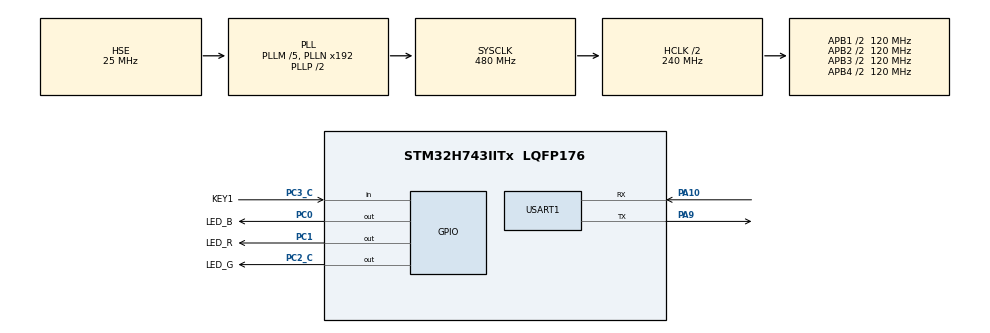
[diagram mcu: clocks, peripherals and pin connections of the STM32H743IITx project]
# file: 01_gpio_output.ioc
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CORTEX_M7.Enable_Spec=__NULL
CORTEX_M7.default_mode_Activation=1
Dma.Request0=USART1_TX
Dma.USART1_TX.0.Direction=DMA_MEMORY_TO_PERIPH
Dma.USART1_TX.0.EventEnable=DISABLE
Dma.USART1_TX.0.FIFOMode=DMA_FIFOMODE_ENABLE
Dma.USART1_TX.0.FIFOThreshold=DMA_FIFO_THRESHOLD_HALFFULL
Dma.USART1_TX.0.Instance=DMA1_Stream0
Dma.USART1_TX.0.MemBurst=DMA_MBURST_SINGLE
Dma.USART1_TX.0.MemDataAlignment=DMA_MDATAALIGN_BYTE
Dma.USART1_TX.0.MemInc=DMA_MINC_ENABLE
Dma.USART1_TX.0.Mode=DMA_CIRCULAR
Dma.USART1_TX.0.PeriphBurst=DMA_PBURST_SINGLE
Dma.USART1_TX.0.PeriphDataAlignment=DMA_PDATAALIGN_BYTE
Dma.USART1_TX.0.PeriphInc=DMA_PINC_DISABLE
Dma.USART1_TX.0.Polarity=HAL_DMAMUX_REQ_GEN_RISING
Dma.USART1_TX.0.Priority=DMA_PRIORITY_LOW
Dma.USART1_TX.0.RequestNumber=1
Dma.USART1_TX.0.SignalID=NONE
Dma.USART1_TX.0.SyncEnable=DISABLE
Dma.USART1_TX.0.SyncPolarity=HAL_DMAMUX_SYNC_NO_EVENT
Dma.USART1_TX.0.SyncRequestNumber=1
Dma.USART1_TX.0.SyncSignalID=NONE
Mcu.Family=STM32H7
Mcu.Name=STM32H743IITx
Mcu.Package=LQFP176
NVIC.DMA1_Stream0_IRQn=true\:0\:0\:false\:false\:true\:false\:true\:true
NVIC.PriorityGroup=NVIC_PRIORITYGROUP_4
NVIC.USART1_IRQn=true\:0\:0\:false\:false\:true\:true\:true\:true
PA10.Mode=Asynchronous
PA10.Signal=USART1_RX
PA13\ (JTMS/SWDIO).Mode=Serial_Wire
PA13\ (JTMS/SWDIO).Signal=DEBUG_JTMS-SWDIO
PA14\ (JTCK/SWCLK).Mode=Serial_Wire
PA14\ (JTCK/SWCLK).Signal=DEBUG_JTCK-SWCLK
PA9.Mode=Asynchronous
PA9.Signal=USART1_TX
PC0.GPIO_Label=LED_B
PC0.GPIO_ModeDefaultOutputPP=GPIO_MODE_OUTPUT_PP
PC0.GPIO_PuPd=GPIO_NOPULL
PC0.GPIO_Speed=GPIO_SPEED_FREQ_LOW
PC0.PinState=GPIO_PIN_RESET
PC0.Signal=GPIO_Output
PC1.GPIO_Label=LED_R
PC1.PinState=GPIO_PIN_RESET
PC1.Signal=GPIO_Output
PC2_C.GPIO_Label=LED_G
PC2_C.PinState=GPIO_PIN_RESET
PC2_C.Signal=GPIO_Output
PC3_C.GPIO_Label=KEY1
PC3_C.GPIO_PuPd=GPIO_PULLUP
PC3_C.Signal=GPIO_Input
PH0-OSC_IN\ (PH0).Mode=HSE-External-Oscillator
PH0-OSC_IN\ (PH0).Signal=RCC_OSC_IN
PH1-OSC_OUT\ (PH1).Mode=HSE-External-Oscillator
PH1-OSC_OUT\ (PH1).Signal=RCC_OSC_OUT
ProjectManager.HeapSize=0x200
ProjectManager.StackSize=0x400
ProjectManager.TargetToolchain=CMake
RCC.ADCFreq_Value=50390625
RCC.APB1Freq_Value=120000000
RCC.APB2Freq_Value=120000000
RCC.APB3Freq_Value=120000000
RCC.APB4Freq_Value=120000000
RCC.CortexFreq_Value=480000000
RCC.D1PPRE=RCC_APB3_DIV2
RCC.D2PPRE1=RCC_APB1_DIV2
RCC.D2PPRE2=RCC_APB2_DIV2
RCC.D3PPRE=RCC_APB4_DIV2
RCC.DIVM1=5
RCC.DIVN1=192
RCC.HCLKFreq_Value=240000000
RCC.HPRE=RCC_HCLK_DIV2
RCC.HSE_VALUE=25000000
RCC.PLLFRACN=0
RCC.PLLSourceVirtual=RCC_PLLSOURCE_HSE
RCC.SYSCLKFreq_VALUE=480000000
RCC.SYSCLKSource=RCC_SYSCLKSOURCE_PLLCLK
RCC.USBFreq_Value=480000000
USART1.FIFOMode=FIFOMODE_ENABLE
USART1.Parity=PARITY_NONE
USART1.RXFIFOThreshold=RXFIFO_THRESHOLD_HALFFULL
USART1.TXFIFOThreshold=TXFIFO_THRESHOLD_HALFFULL
USART1.VirtualMode-Asynchronous=VM_ASYNC
USART1.WordLength=WORDLENGTH_8B
VP_MEMORYMAP_VS_MEMORYMAP.Mode=CurAppReg
board=custom

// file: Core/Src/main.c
/* USER CODE BEGIN Header */
/**
  ******************************************************************************
  * @file           : main.c
  * @brief          : Main program body
  ******************************************************************************
  * @attention
  *
  * Copyright (c) 2025 STMicroelectronics.
  * All rights reserved.
  *
  * This software is licensed under terms that can be found in the LICENSE file
  * in the root directory of this software component.
  * If no LICENSE file comes with this software, it is provided AS-IS.
  *
  ******************************************************************************
  */
/* USER CODE END Header */
#include "main.h"
#include "dma.h"
#include "memorymap.h"
#include "usart.h"
#include "gpio.h"

/* USER CODE BEGIN Includes */
#include <string.h>
#include <stdio.h>
/* USER CODE END Includes */

void SystemClock_Config(void);
static void MPU_Config(void);

/* USER CODE BEGIN 0 */

char print_buff[100];
#define debug(...) do{\
  sprintf(print_buff,__VA_ARGS__);\
  while(HAL_UART_Transmit_DMA(&huart1,(uint8_t *)print_buff,strlen(print_buff)) != HAL_OK);\
}while(0)

// #define RXBUFFERSIZE 30
// uint8_t aRxBuffer[RXBUFFERSIZE] __attribute__((section(".dma_buffer")));

// void HAL_UARTEx_RxEventCallback(UART_HandleTypeDef *huart,uint16_t size) {
//   if (huart->Instance == USART1) {
//     HAL_UART_DMAStop(huart);
//     // uint16_t size = RXBUFFERSIZE - __HAL_DMA_GET_COUNTER(huart->hdmarx);
//     // HAL_UART_ReceiveToIdle_DMA(huart, aRxBuffer, RXBUFFERSIZE);
//     // HAL_UART_Transmit(&huart1, aRxBuffer, size, 1000);
//     HAL_GPIO_TogglePin(LED_G_GPIO_Port, LED_G_Pin);
//   }
//
//
// }
uint8_t tx_buffer[30];

uint8_t rx_buffer[30];
void HAL_UARTEx_RxEventCallback(UART_HandleTypeDef *huart,uint16_t size) {
  if (huart->Instance == USART1) {
    HAL_UARTEx_ReceiveToIdle_IT(huart, rx_buffer, 10);
    // HAL_GPIO_TogglePin(LED_G_GPIO_Port, LED_G_Pin);
    sprintf((char *)tx_buffer,"%s",(char *)rx_buffer);
    HAL_UART_Transmit_IT(&huart1,tx_buffer,strlen(tx_buffer));
  }

}
void HAL_UART_RxCpltCallback(UART_HandleTypeDef *huart) {
  if (huart->Instance == USART1) {
    HAL_UART_Receive_IT(huart, rx_buffer, 10);
    // HAL_GPIO_TogglePin(LED_G_GPIO_Port, LED_G_Pin);
    sprintf((char *)tx_buffer,"%s",(char *)rx_buffer);
    HAL_UART_Transmit_IT(&huart1,tx_buffer,strlen(tx_buffer));
  }

}

char tx_buff[1024];

void HAL_UART_TxHalfCpltCallback(UART_HandleTypeDef *huart) {
    // HAL_GPIO_TogglePin(LED_B_GPIO_Port, LED_B_Pin);
  for (uint16_t i = 0; i < 50; i++) {
    tx_buff[i] +=100;
  }
}

void HAL_UART_TxCpltCallback(UART_HandleTypeDef *huart) {
  // HAL_GPIO_TogglePin(LED_R_GPIO_Port, LED_R_Pin);、
  for (uint16_t i = 50; i < 100; i++) {
    tx_buff[i] +=100;
  }
}
char print_buff[]="hello world\r\n";

#define CH_COUNT 4
typedef struct {
  float ch_data[CH_COUNT];
  unsigned char tail[4];
}Frame_t;
Frame_t frame = {{0},{0x00, 0x00, 0x80, 0x7f}};

/* USER CODE END 0 */

int main(void)
{

  /* MPU Configuration--------------------------------------------------------*/
  MPU_Config();

  /* MCU Configuration--------------------------------------------------------*/

  /* Reset of all peripherals, Initializes the Flash interface and the Systick. */
  HAL_Init();

  /* Configure the system clock */
  SystemClock_Config();

  /* Initialize all configured peripherals */
  MX_GPIO_Init();
  MX_DMA_Init();
  MX_USART1_UART_Init();
  /* USER CODE BEGIN 2 */
  // debug("hello %d\r\n",1);
  // debug("hello %d\r\n",2);
  for (uint16_t i = 0; i < 100; i++) {
    tx_buff[i] = i;
  }
  HAL_UART_Transmit_DMA(&huart1,tx_buff,100);

  //
  // // do {
  // //   char print_buff[100];
  // //   sprintf(print_buff, "hello %d\r\n", 1);
  // //   HAL_UART_Transmit_DMA(&huart1, (uint8_t *) print_buff, strlen(print_buff));
  // // } while (0);
  // // HAL_UARTEx_ReceiveToIdle_IT(&huart1,rx_buffer,10);
  // // HAL_UART_Receive_IT(&huart1,rx_buffer,1);
  // // HAL_UART_Transmit(&huart1,(uint8_t *)"hello world\r\n",13,1000);
  //
  // HAL_UART_Transmit_DMA(&huart1,(uint8_t *)"hello world\r\nhello world\r\nhello world\r\n",39);
  // HAL_UART_Transmit_DMA(&huart1,(uint8_t *)print_buff,strlen(print_buff));

  /*
   *
  *
  *
   *
   */

  /* USER CODE END 2 */

  /* Infinite loop */
  /* USER CODE BEGIN WHILE */
  while (1)
  {
    // static float t = 0;
    // t++;
    // for (int i = 0; i < CH_COUNT; i++) {
    //   frame.ch_data[i] = t + i * 0.1f;
    // }
    // HAL_UART_Transmit_DMA(&huart1, (uint8_t *)&frame, sizeof(frame));
    // HAL_Delay(1000);
    // HAL_GPIO_TogglePin(LED_B_GPIO_Port,LED_B_Pin);
    // HAL_Delay(1000);
    // HAL_GPIO_TogglePin(LED_G_GPIO_Port, LED_G_Pin);
    // HAL_Delay(1000);
    // HAL_GPIO_TogglePin(LED_R_GPIO_Port, LED_R_Pin);
    // HAL_Delay(1000);

    // if (HAL_GPIO_ReadPin(KEY1_GPIO_Port, KEY1_Pin) == GPIO_PIN_RESET)
    // {
    //   HAL_GPIO_WritePin(LED_G_GPIO_Port, LED_G_Pin, GPIO_PIN_SET);
    // }
    // else
    // {
    //   HAL_GPIO_WritePin(LED_G_GPIO_Port, LED_G_Pin, GPIO_PIN_RESET);
    // }
    /* USER CODE END WHILE */

  }
}

void SystemClock_Config(void)
{
  RCC_OscInitTypeDef RCC_OscInitStruct = {0};
  RCC_ClkInitTypeDef RCC_ClkInitStruct = {0};

  /** Supply configuration update enable
  */
  HAL_PWREx_ConfigSupply(PWR_LDO_SUPPLY);

  /** Configure the main internal regulator output voltage
  */
  __HAL_PWR_VOLTAGESCALING_CONFIG(PWR_REGULATOR_VOLTAGE_SCALE0);

  while(!__HAL_PWR_GET_FLAG(PWR_FLAG_VOSRDY)) {}

  /** Initializes the RCC Oscillators according to the specified parameters
  * in the RCC_OscInitTypeDef structure.
  */
  RCC_OscInitStruct.OscillatorType = RCC_OSCILLATORTYPE_HSE;
  RCC_OscInitStruct.HSEState = RCC_HSE_ON;
  RCC_OscInitStruct.PLL.PLLState = RCC_PLL_ON;
  RCC_OscInitStruct.PLL.PLLSource = RCC_PLLSOURCE_HSE;
  RCC_OscInitStruct.PLL.PLLM = 5;
  RCC_OscInitStruct.PLL.PLLN = 192;
  RCC_OscInitStruct.PLL.PLLP = 2;
  RCC_OscInitStruct.PLL.PLLQ = 2;
  RCC_OscInitStruct.PLL.PLLR = 2;
  RCC_OscInitStruct.PLL.PLLRGE = RCC_PLL1VCIRANGE_2;
  RCC_OscInitStruct.PLL.PLLVCOSEL = RCC_PLL1VCOWIDE;
  RCC_OscInitStruct.PLL.PLLFRACN = 0;
  if (HAL_RCC_OscConfig(&RCC_OscInitStruct) != HAL_OK)
  {
    Error_Handler();
  }

  /** Initializes the CPU, AHB and APB buses clocks
  */
  RCC_ClkInitStruct.ClockType = RCC_CLOCKTYPE_HCLK|RCC_CLOCKTYPE_SYSCLK
                              |RCC_CLOCKTYPE_PCLK1|RCC_CLOCKTYPE_PCLK2
                              |RCC_CLOCKTYPE_D3PCLK1|RCC_CLOCKTYPE_D1PCLK1;
  RCC_ClkInitStruct.SYSCLKSource = RCC_SYSCLKSOURCE_PLLCLK;
  RCC_ClkInitStruct.SYSCLKDivider = RCC_SYSCLK_DIV1;
  RCC_ClkInitStruct.AHBCLKDivider = RCC_HCLK_DIV2;
  RCC_ClkInitStruct.APB3CLKDivider = RCC_APB3_DIV2;
  RCC_ClkInitStruct.APB1CLKDivider = RCC_APB1_DIV2;
  RCC_ClkInitStruct.APB2CLKDivider = RCC_APB2_DIV2;
  RCC_ClkInitStruct.APB4CLKDivider = RCC_APB4_DIV2;

  if (HAL_RCC_ClockConfig(&RCC_ClkInitStruct, FLASH_LATENCY_4) != HAL_OK)
  {
    Error_Handler();
  }
}

 /* MPU Configuration */

void MPU_Config(void)
{

  /* Disables the MPU */
  HAL_MPU_Disable();

  /* Enables the MPU */
  HAL_MPU_Enable(MPU_PRIVILEGED_DEFAULT);

}

void Error_Handler(void)
{
  __disable_irq();
  while (1)
  {
  }
}
